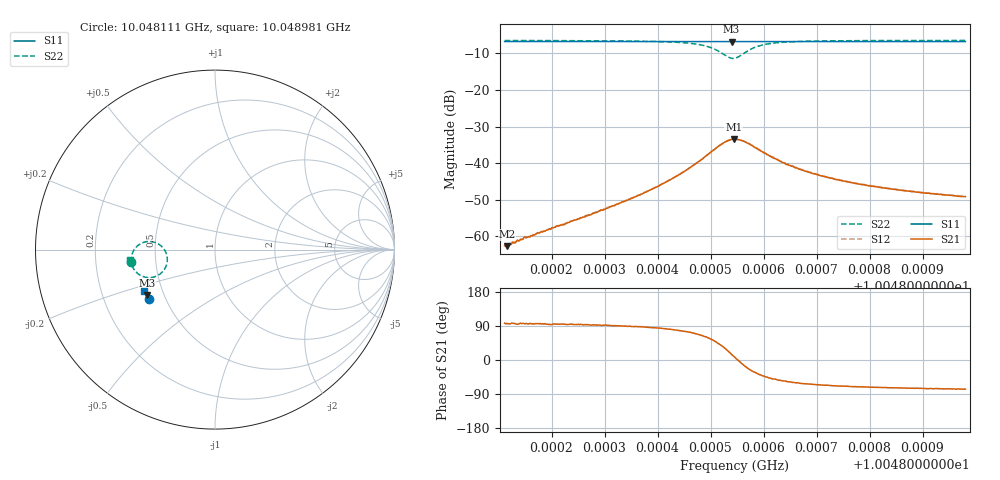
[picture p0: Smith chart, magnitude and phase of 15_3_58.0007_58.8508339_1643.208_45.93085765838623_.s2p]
#  HZ  S  RI  R  50.00
! Rohde & Schwarz Vector Network Analyzer
! Rohde-Schwarz,ZNB20-2Port,1311601062101988,3.16
! Created: UTC 3/21/2024, 12:50:57 AM
! freq[Hz]  re:S11  im:S11  re:S21  im:S21  re:S12  im:S12  re:S22  im:S22
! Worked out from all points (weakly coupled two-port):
!   401 points, 10.048111 GHz to 10.048981 GHz, reference 50 ohm
!   highest |S21| = -33.42 dB at 10.048544 GHz (marker M1); lowest = -62.6 dB at 10.048116 GHz (marker M2)
!   lowest |S11| = -6.8 dB at 10.04854 GHz (marker M3), VSWR 2.68, Z = 20.1 - j12.9 ohm
!   |S11| at or under -10 dB: nowhere
!   |S22| runs from -11.4 to -6.5 dB; largest |S21 - S12| = 0.0018
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1.00481114e10  -0.3659 -0.278  -9.5e-05 0.000741  -0.000149 0.000721  -0.4678 -0.0717
1.00481158e10  -0.3661 -0.2778  -8.93e-05 0.000732  -0.000166 0.000773  -0.4677 -0.0711
1.00481527e10  -0.3675 -0.2758  -0.000114 0.000955  -0.000153 0.000955  -0.468 -0.0669
1.00482571e10  -0.3715 -0.2699  -0.000119 0.0018  -0.000201 0.00179  -0.4677 -0.052
1.00483397e10  -0.3746 -0.265  5.27e-05 0.00306  -0.000183 0.00309  -0.4651 -0.0347
1.00484027e10  -0.3768 -0.2614  0.000485 0.00487  0.000235 0.00494  -0.4579 -0.0136
1.00484462e10  -0.3784 -0.2589  0.0017 0.00718  0.00128 0.0073  -0.4435 0.00928
1.00484853e10  -0.3796 -0.2562  0.00506 0.0103  0.0045 0.0107  -0.4061 0.037
1.00485157e10  -0.3798 -0.254  0.0127 0.0117  0.0117 0.0124  -0.3341 0.0399
1.00485288e10  -0.3798 -0.2534  0.0173 0.00964  0.0164 0.0105  -0.2936 0.0141
1.00485396e10  -0.3796 -0.2533  0.0204 0.00543  0.0197 0.00689  -0.2698 -0.0268
1.0048544e10  -0.3798 -0.2532  0.021 0.00348  0.0205 0.00505  -0.266 -0.0462
1.00485462e10  -0.3797 -0.2532  0.0209 0.00246  0.0207 0.00402  -0.2657 -0.0564
1.00485592e10  -0.3802 -0.2531  0.0201 -0.00331  0.0203 -0.0019  -0.2823 -0.1108
1.00485701e10  -0.3808 -0.253  0.0175 -0.00693  0.0182 -0.00566  -0.3115 -0.1398
1.00485853e10  -0.3817 -0.2524  0.0136 -0.00887  0.0142 -0.00814  -0.3534 -0.1552
1.00486005e10  -0.3826 -0.2517  0.0102 -0.00939  0.011 -0.0088  -0.3855 -0.1543
1.00486396e10  -0.3844 -0.2494  0.00567 -0.00826  0.00627 -0.00792  -0.4298 -0.134
1.00486918e10  -0.3865 -0.2464  0.00317 -0.00654  0.0036 -0.00646  -0.4513 -0.1103
1.00487592e10  -0.3889 -0.2425  0.00196 -0.00521  0.0023 -0.00513  -0.4618 -0.0906
1.00488374e10  -0.3916 -0.2379  0.00127 -0.00429  0.00159 -0.00424  -0.4669 -0.0756
1.00489809e10  -0.3964 -0.2295  0.000791 -0.0034  0.001 -0.00338  -0.4709 -0.0568
